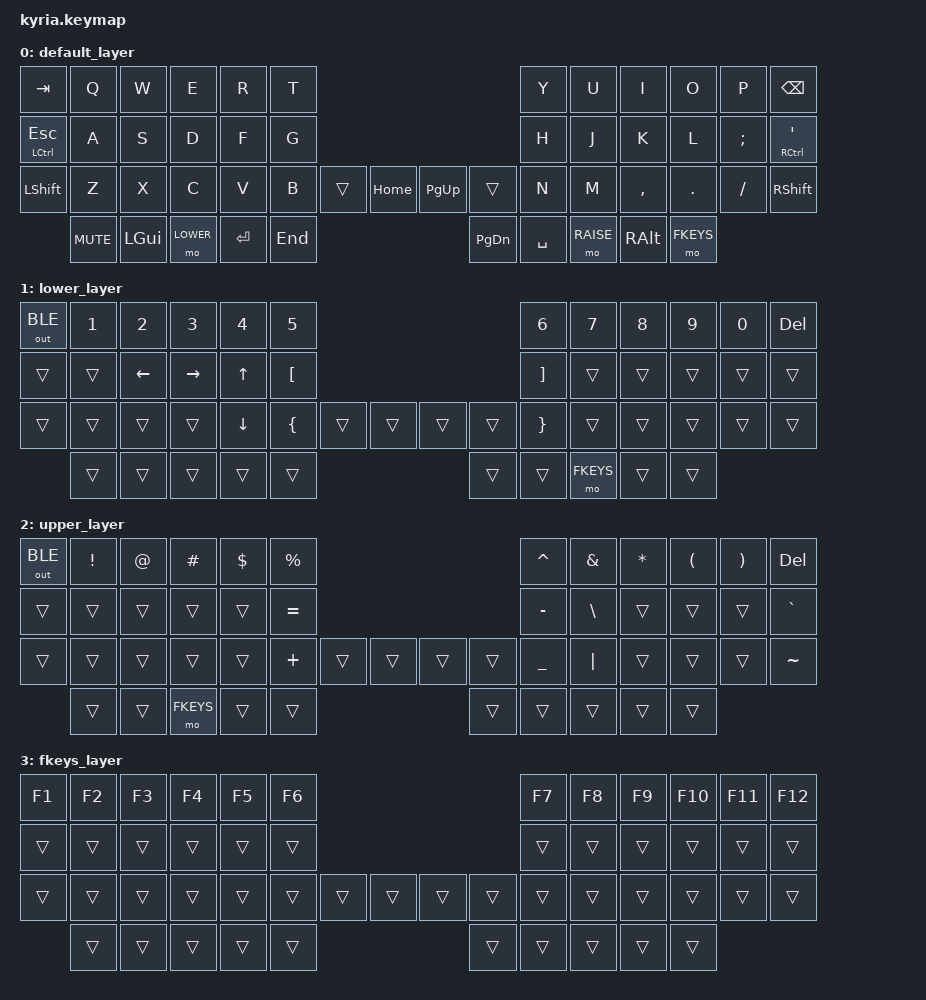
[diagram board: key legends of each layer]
/*
 * Copyright (c) 2020 The ZMK Contributors
 *
 * SPDX-License-Identifier: MIT
 */

#include <behaviors.dtsi>
#include <dt-bindings/zmk/keys.h>
#include <dt-bindings/zmk/outputs.h>

#define DEFAULT 0
#define LOWER 1
#define RAISE 2
#define FKEYS 3

/ {
	keymap {
		compatible = "zmk,keymap";

		default_layer {
// ---------------------------------------------------------------------------------------------------------------------------------
// |  TAB       |  Q  |  W  |  E   |  R   |  T   |                                          |  Y   |  U    |  I    |  O   |   P   |   BKSP  |
// |  CTRL/ESC  |  A  |  S  |  D   |  F   |  G   |                                          |  H   |  J    |  K    |  L   |   ;   |   CTRL/'  |
// | SHIFT      |  Z  |  X  |  C   |  V   |  B   | XXXXXX | HOME |  |  UP   | XXXXXX  |  N    |  M    |  ,    |  .   |   /   | RShift |
//                     | MUTE  | LGUI  | Low  |  RET      | END  |  | DOWN  |  SPACE  | Upper | R-ALT | F-Keys |
			bindings = <
	&kp TAB         &kp Q &kp W &kp E &kp R &kp T                                              &kp Y &kp U  &kp I     &kp O   &kp P    &kp BSPC
	&mt LCTRL ESC   &kp A &kp S &kp D &kp F &kp G                                              &kp H &kp J  &kp K     &kp L   &kp SEMI &mt RCTRL SQT
	&kp LSHFT       &kp Z &kp X &kp C &kp V &kp B &trans   &kp HOME        &kp PG_UP &trans    &kp N &kp M  &kp COMMA &kp DOT &kp FSLH &kp RSHFT
	                &kp C_MUTE &kp LGUI &mo LOWER &kp RET &kp END          &kp PG_DN &kp SPACE &mo RAISE &kp RALT &mo FKEYS
			>;
		};

                lower_layer {
// ---------------------------------------------------------------------------------------------------------------------------------
// |  NONE  |    1   |    2   |    3    |    4    |    5    |                                        |    6    |    7   |    8   |    9    |     0    |    DEL  |
// |  NONE  |  NONE  |  LEFT  |  RIGHT  |    UP   |   [   |                                          |     ]   |  NONE  |  NONE  |  NONE   |   NONE   |   NONE  |
// |  NONE  |  NONE  |  NONE  |  NONE   |  DOWN   |   {   |  NONE | NONE |           |  NONE  | NONE |     }   |  NONE  |  NONE  |  NONE   |   NONE   |   NONE  |
//                                | NONE  | NONE  | NONE  |  NONE | NONE |         |  NONE  | NONE | NONE | NONE | NONE |
                        bindings = <
                &out OUT_BLE   &kp N1  &kp N2   &kp N3    &kp N4    &kp N5                                          &kp N6    &kp N7  &kp N8  &kp N9  &kp N0  &kp DEL
                &trans &trans  &kp LEFT &kp RIGHT &kp UP    &kp LBKT                                        &kp RBKT  &trans  &trans  &trans  &trans  &trans
                &trans &trans  &trans   &trans    &kp DOWN  &kp LBRC  &trans &trans          &trans &trans  &kp RBRC  &trans  &trans  &trans  &trans  &trans
                                        &trans    &trans    &trans    &trans &trans          &trans &trans  &mo FKEYS &trans  &trans
                        >;
                };


                upper_layer {
// ---------------------------------------------------------------------------------------------------------------------------------
// |  NONE  |    !   |    @   |    #    |    $    |    %    |                                          |    ^    |    &   |    *   |    (    |     )    |   DEL  |
// |  NONE  |  NONE  |  NONE  |  NONE   |  NONE   |    =    |                                          |    -    |    \   |  NONE  |  NONE   |   NONE   |     `   |
// |  NONE  |  NONE  |  NONE  |  NONE   |  NONE   |    +    |  NONE | NONE |           |  NONE  | NONE |    _    |    |   |  NONE  |  NONE   |   NONE   |     ~   |
//                                  | NONE  | NONE  | NONE  |  NONE | NONE |           |  NONE  | NONE | NONE | NONE | NONE |
                        bindings = <
                &out OUT_BLE &kp EXCL  &kp AT   &kp HASH  &kp DOLLAR  &kp PRCNT                               &kp CARET  &kp AMPS   &kp STAR &kp LPAR &kp RPAR &kp DEL
                &trans &trans    &trans   &trans    &trans      &kp EQUAL                               &kp MINUS  &kp BSLH   &trans   &trans   &trans   &kp GRAVE
                &trans &trans    &trans   &trans    &trans      &kp PLUS  &trans &trans  &trans &trans  &kp UNDER  &kp PIPE   &trans   &trans   &trans   &kp TILDE
                                          &trans    &trans      &mo FKEYS &trans &trans  &trans &trans  &trans     &trans     &trans
                        >;
                };

                fkeys_layer {
// ---------------------------------------------------------------------------------------------------------------------------------
// |    F1  |    F2  |    F3  |    F4   |    F5   |    F6   |                                          |    F7   |    F8  |    F9  |   F10   |    F11   |    F12  |
// |  NONE  |  NONE  |  NONE  |  NONE   |  NONE   |  NONE   |                                          |  NONE   |  NONE  |  NONE  |  NONE   |   NONE   |   NONE  |
// |  NONE  |  NONE  |  NONE  |  NONE   |  NONE   |  NONE   |  NONE | NONE |           |  NONE  | NONE |  NONE   |  NONE  |  NONE  |  NONE   |   NONE   |   NONE  |
//                                  | NONE  | NONE  | NONE  |  NONE | NONE |           |  NONE  | NONE | NONE | NONE | NONE |
                        bindings = <
            &kp F1  &kp F2  &kp F3  &kp F4  &kp F5  &kp F6                                              &kp F7  &kp F8  &kp F9  &kp F10  &kp F11  &kp F12
            &trans  &trans  &trans  &trans  &trans  &trans                                              &trans  &trans  &trans  &trans   &trans   &trans
            &trans  &trans  &trans  &trans  &trans  &trans   &trans &trans                &trans &trans &trans  &trans  &trans   &trans   &trans   &trans
                                    &trans  &trans  &trans   &trans &trans                &trans &trans &trans  &trans  &trans
                        >;
                };

// ---------------------------------------------------------------------------------------------------------------------------------
// |  NONE  |  NONE  |  NONE  |  NONE   |  NONE   |  NONE   |                                          |  NONE   |  NONE  |  NONE  |  NONE   |   NONE   |   NONE  |
// |  NONE  |  NONE  |  NONE  |  NONE   |  NONE   |  NONE   |                                          |  NONE   |  NONE  |  NONE  |  NONE   |   NONE   |   NONE  |
// |  NONE  |  NONE  |  NONE  |  NONE   |  NONE   |  NONE   |  NONE | NONE |           |  NONE  | NONE |  NONE   |  NONE  |  NONE  |  NONE   |   NONE   |   NONE  |
//                                  | NONE  | NONE  | NONE  |  NONE | NONE |           |  NONE  | NONE | NONE | NONE | NONE |
        };
};
